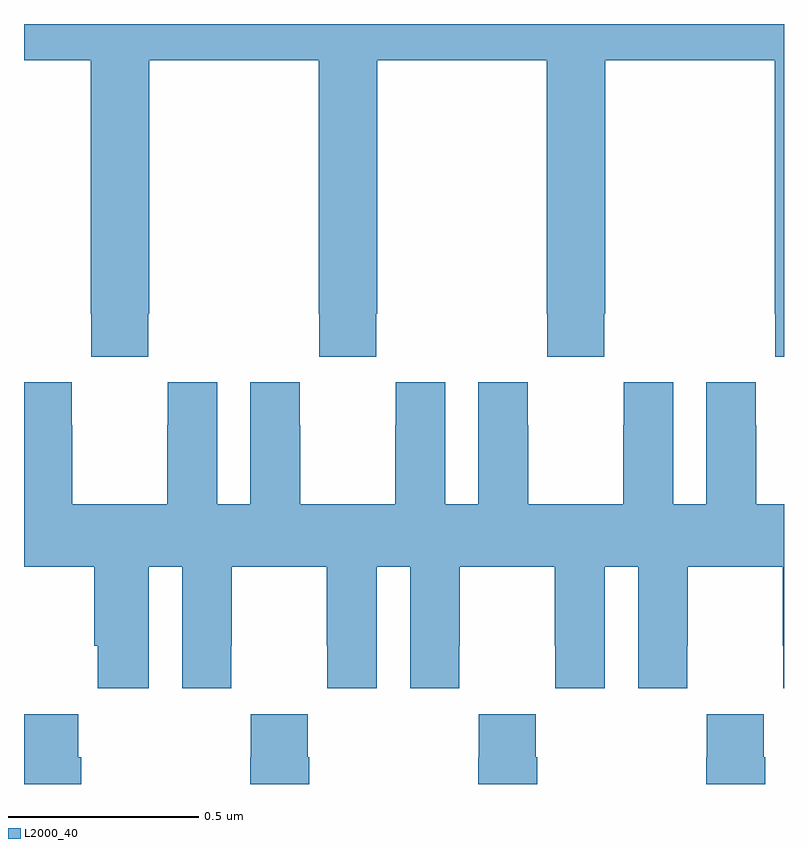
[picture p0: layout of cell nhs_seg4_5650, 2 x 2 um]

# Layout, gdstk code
import gdstk
lib = gdstk.Library(unit=1e-6, precision=1e-09)
def P(c, l, *ps):  # polygons
    for p in ps: c.add(gdstk.Polygon(p, *l))
L2000_40 = (2000, 40)

nhs_seg4_5650 = lib.new_cell('nhs_seg4_5650')
P(nhs_seg4_5650, L2000_40, [(180.327,812.137),(180.33,812.137),(180.33,812.804),(180.775,812.804),(180.775,812.137),(180.777,812.137),(180.777,812.025),(180.927,812.025),(180.927,812.137),(180.93,812.137),(180.93,812.804),(181.375,812.804),(181.375,812.137),(181.377,812.137),(181.377,812.025),(181.527,812.025),(181.527,812.137),(181.53,812.137),(181.53,812.804),(181.975,812.804),(181.975,812.137),(181.977,812.137),(181.977,812.025),(182,812.025),(182,812.9),(180,812.9),(180,812.804),(180.175,812.804),(180.175,812.137),(180.177,812.137),(180.177,812.025),(180.327,812.025)],
  [(180.328,811.472),(180.416,811.472),(180.416,811.152),(180.546,811.152),(180.546,811.264),(180.547,811.264),(180.547,811.472),(180.797,811.472),(180.797,811.264),(180.798,811.264),(180.798,811.152),(180.928,811.152),(180.928,811.472),(181.016,811.472),(181.016,811.152),(181.146,811.152),(181.146,811.264),(181.147,811.264),(181.147,811.472),(181.397,811.472),(181.397,811.264),(181.398,811.264),(181.398,811.152),(181.528,811.152),(181.528,811.472),(181.616,811.472),(181.616,811.152),(181.746,811.152),(181.746,811.264),(181.747,811.264),(181.747,811.472),(181.997,811.472),(181.997,811.264),(181.998,811.264),(181.998,811.152),(182,811.152),(182,811.636),(181.927,811.636),(181.927,811.844),(181.926,811.844),(181.926,811.957),(181.796,811.957),(181.796,811.636),(181.708,811.636),(181.708,811.957),(181.578,811.957),(181.578,811.844),(181.577,811.844),(181.577,811.636),(181.327,811.636),(181.327,811.844),(181.326,811.844),(181.326,811.957),(181.196,811.957),(181.196,811.636),(181.108,811.636),(181.108,811.957),(180.978,811.957),(180.978,811.844),(180.977,811.844),(180.977,811.636),(180.727,811.636),(180.727,811.844),(180.726,811.844),(180.726,811.957),(180.596,811.957),(180.596,811.636),(180.508,811.636),(180.508,811.957),(180.378,811.957),(180.378,811.844),(180.377,811.844),(180.377,811.636),(180.127,811.636),(180.127,811.844),(180.126,811.844),(180.126,811.957),(180,811.957),(180,811.472),(180.185,811.472),(180.185,811.264),(180.194,811.264),(180.194,811.152),(180.328,811.152)],
  [(180.15,810.971),(180.143,810.971),(180.143,811.084),(180,811.084),(180,810.9),(180.15,810.9)],
  [(181.95,810.971),(181.947,810.971),(181.947,811.084),(181.797,811.084),(181.797,810.971),(181.795,810.971),(181.795,810.9),(181.95,810.9)],
  [(180.75,810.971),(180.747,810.971),(180.747,811.084),(180.597,811.084),(180.597,810.971),(180.595,810.971),(180.595,810.9),(180.75,810.9)],
  [(181.35,810.971),(181.347,810.971),(181.347,811.084),(181.197,811.084),(181.197,810.971),(181.195,810.971),(181.195,810.9),(181.35,810.9)])

lib.write_gds('nhs_seg4_5650.gds')
